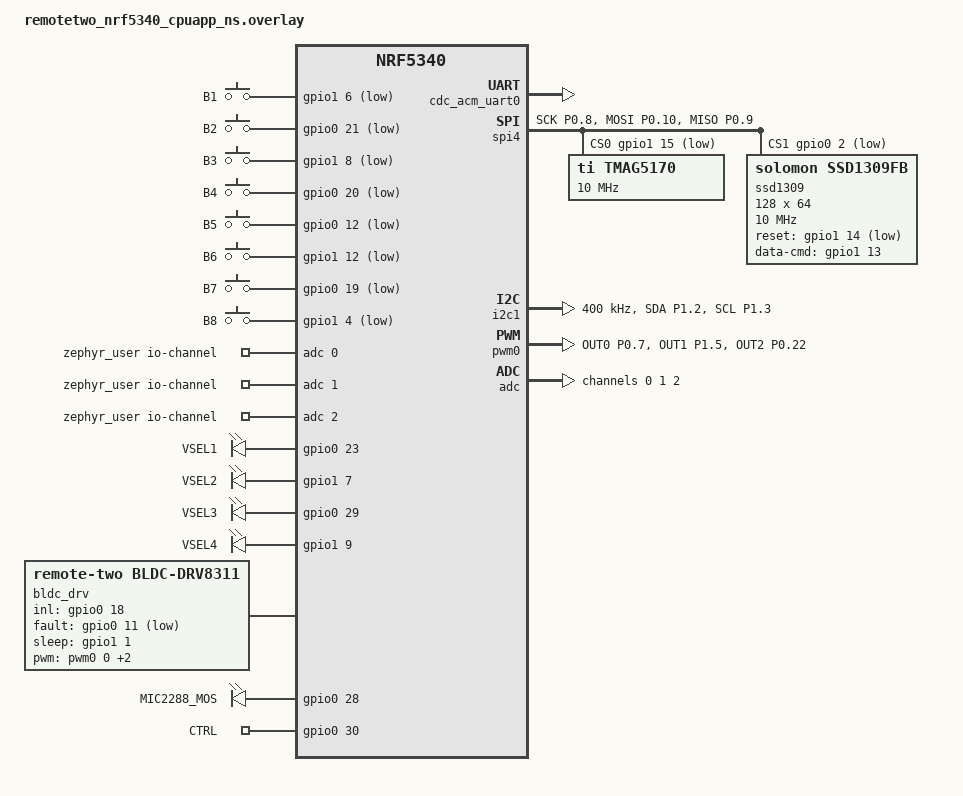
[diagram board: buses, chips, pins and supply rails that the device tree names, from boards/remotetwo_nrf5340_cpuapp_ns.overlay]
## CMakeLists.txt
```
cmake_minimum_required(VERSION 3.20.0)
find_package(Zephyr REQUIRED HINTS $ENV{ZEPHYR_BASE})

project(remote_two)

if(CONFIG_APP_DISP_TEST)
    target_sources(app PRIVATE
        src/disp_test.c
        src/haptic.c
        src/drivers/bldc_driver_3pwm.c
        src/drivers/bldc_motor.c
        src/drivers/current_sense.c
        src/drivers/tmag5170_sensor.c
    )
elseif(CONFIG_APP_DRV_TEST)
    target_sources(app PRIVATE
        src/DRV_test.c
        src/drivers/bldc_driver_3pwm.c
    )
elseif(CONFIG_APP_ANTICOGGING_TEST)
    target_sources(app PRIVATE
        src/drivers/tmag5170_sensor.c
        src/drivers/bldc_driver_3pwm.c
        src/drivers/bldc_motor.c
        src/drivers/current_sense.c
        src/drivers/anticogging.c
    )
elseif(CONFIG_APP_FOC_CURRENT_NOISE_REDUCTION_TEST)
    target_sources(app PRIVATE
        src/drivers/tmag5170_sensor.c
        src/drivers/bldc_driver_3pwm.c
        src/drivers/bldc_motor.c
        src/drivers/current_sense.c
        src/foc_current.c
        src/drivers/anticogging.c
        src/drivers/anticogging_data.c
    )
else()
    target_sources(app PRIVATE
        src/main.c
        src/ui_display.c
        src/haptic.c
        src/remote_control.c
        src/BLE_commands.c
        src/drivers/tmag5170_sensor.c
        src/drivers/bldc_driver_3pwm.c
        src/drivers/bldc_motor.c
        src/drivers/current_sense.c
    )
endif()

target_include_directories(app PRIVATE src)
```

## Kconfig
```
mainmenu "Remote Two firmware"

menu "Application selection"

config APP_DRV_TEST
	bool "DRV8311H open-loop 3PWM motor driver test"
	default n
	help
	  Builds DRV_test.c + bldc_driver_3pwm only.

config APP_DISP_TEST
	bool "SSD1309 display communication test"
	default n
	help
	  Builds disp_test.c only - cycles text on the display to verify SPI.

config APP_FOC_CURRENT_NOISE_REDUCTION_TEST
    bool "Enable FOC Current Noise Reduction Test"
    default n
	help
	  Builds foc_current.c only - runs a test to reduce current noise in FOC control and later implements anticogging.

endmenu

source "Kconfig.zephyr"
```

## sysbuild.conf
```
# Build and flash nRF5340 network core with Bluetooth HCI IPC firmware.
SB_CONFIG_NETCORE_HCI_IPC=y
```

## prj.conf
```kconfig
# ==============================================================================
# TEST CODE SELECTOR - uncomment one of the lines below:
# ==============================================================================
#CONFIG_APP_DISP_TEST=y
#CONFIG_APP_DRV_TEST=y
#CONFIG_APP_ANTICOGGING_TEST=y
CONFIG_APP_FOC_CURRENT_NOISE_REDUCTION_TEST=y

# ==============================================================================
# 1. APPLICATION & SYSTEM
# ==============================================================================

# System tick rate must be >= FOC loop frequency (10 kHz)
CONFIG_SYS_CLOCK_TICKS_PER_SEC=10000

# FPU Support - Hardware Floating Point Unit
CONFIG_FPU=y
CONFIG_FP_HARDABI=y

# CMSIS DSP for ARM math library (Required for FOC)
CONFIG_CMSIS_DSP=y
CONFIG_CMSIS_DSP_FASTMATH=y

# ==============================================================================
# 2. HARDWARE & PERIPHERALS
# ==============================================================================
# Basic drivers
CONFIG_GPIO=y
CONFIG_SPI=y
CONFIG_PWM=y

# SAADC current sensing (DRV8311H CSA outputs) for FOC current torque control.
# Hardware-timed low-side sensing: TIMER2 is phase-locked to PWM0 and its
# COMPARE event triggers the SAADC SAMPLE task through DPPI (nrfx_gppi), with
# EasyDMA writing the conversions to RAM. The Zephyr ADC driver must NOT own
# the SAADC, so CONFIG_ADC stays off. See src/drivers/current_sense.c.
CONFIG_ADC=n
CONFIG_NRFX_SAADC=y
CONFIG_NRFX_GPPI=y
# TIMER2 is driven directly via the nrf_timer HAL (header-only) on NRF_TIMER2,
# not through the nrfx_timer driver, so no NRFX_TIMER Kconfig is required.
# timer2 is status="disabled" in devicetree, so no Zephyr driver owns it.
# nrfx_pwm0: bldc_driver_3pwm.c reinitialises NRF_PWM0 via nrfx_pwm in
# UP_AND_DOWN mode for center-aligned PWM. CONFIG_PWM=y (above) already pulls
# in the nrfx_pwm headers via the Zephyr nrfx PWM driver; no separate Kconfig
# symbol is needed.

# Display (custom framebuffer, no LVGL)
CONFIG_DISPLAY=y
CONFIG_SSD1306=y

# TMAG5170 angle sensor
CONFIG_SENSOR=y
CONFIG_TMAG5170=y

# Input subsystem (Menu button with debounce)
CONFIG_INPUT=y

# Power management: System OFF (deepest sleep) for the power button.
# NOTE: CONFIG_PM_DEVICE intentionally NOT enabled - it perturbs early device
# init on this target. TMAG5170 deep-sleep is done via a direct register write.
CONFIG_POWEROFF=y

# GPIOTE event handlers - 8 buttons + SPI CS GPIO interrupts + reserve
CONFIG_NRFX_GPIOTE_NUM_OF_EVT_HANDLERS=12

# ==============================================================================
# 3. BLUETOOTH LE + NUS
# ==============================================================================
CONFIG_BT=y
CONFIG_BT_PERIPHERAL=y
CONFIG_BT_DEVICE_NAME="remote_two"
CONFIG_BT_DEVICE_APPEARANCE=0
CONFIG_BT_MAX_CONN=1
CONFIG_BT_ZEPHYR_NUS=y

# Suppress verbose BT stack logs (keep only warnings+)
CONFIG_BT_HCI_CORE_LOG_LEVEL_WRN=y

# ==============================================================================
# 4. USB DEVICE STACK & DFU OTA (Application side)
# ==============================================================================

# Required dependencies for Flash writes and OTA updates
CONFIG_FLASH=y
CONFIG_IMG_MANAGER=y
CONFIG_STREAM_FLASH=y
CONFIG_FLASH_MAP=y

# Persistent storage for the anticogging LUT (raw NVS in the settings_storage partition)
CONFIG_NVS=y
CONFIG_FLASH_PAGE_LAYOUT=y
CONFIG_MPU_ALLOW_FLASH_WRITE=y

# Disable QSPI NOR flash - nRF5340DK board defconfig enables it by default.
# QSPI uses P0.13-P0.18; P0.18 = INL (motor low-side enable) -> conflict.
# Our DFU secondary slot is in INTERNAL flash (pm_static.yml), no QSPI needed.
CONFIG_NORDIC_QSPI_NOR=n

# Enable USB Device Stack
CONFIG_USB_DEVICE_STACK=y
CONFIG_USB_DEVICE_INITIALIZE_AT_BOOT=y
CONFIG_USB_DEVICE_PRODUCT="Remote Two"
CONFIG_USB_DEVICE_VID=0x2FE3
CONFIG_USB_DEVICE_PID=0x0100

# SMP (Simple Management Protocol) for Over-The-Air/USB firmware updates
CONFIG_ZCBOR=y
CONFIG_MCUMGR=y
CONFIG_BASE64=y
CONFIG_MCUMGR_TRANSPORT_UART=y
CONFIG_MCUMGR_GRP_IMG=y
CONFIG_MCUMGR_GRP_OS=y

# ==============================================================================
# 5. LOGGING & CONSOLE (Over USB CDC ACM)
# ==============================================================================
# Enable serial console
CONFIG_SERIAL=y
CONFIG_CONSOLE=y
CONFIG_UART_CONSOLE=y
CONFIG_UART_LINE_CTRL=y

# Disable Segger RTT to prevent conflicts with USB logging
CONFIG_RTT_CONSOLE=n
CONFIG_USE_SEGGER_RTT=n

# Logging Subsystem
CONFIG_LOG=y
CONFIG_LOG_DEFAULT_LEVEL=2
CONFIG_LOG_OVERRIDE_LEVEL=0
# Deferred logging: log lines are queued and flushed from a low-priority thread,
# so a stalled/slow USB-CDC terminal can NEVER block the timing-sensitive haptic
# FOC init (immediate mode busy-waits on uart_poll_out and stalled the whole
# boot for ~20 s when the terminal was not draining fast enough).
CONFIG_LOG_MODE_DEFERRED=y

# Printk support (float formatting)
CONFIG_PRINTK=y
CONFIG_CBPRINTF_FP_SUPPORT=y
# Do NOT route printk() through the deferred log queue.
# With LOG_PRINTK=y, printk("DATA:...") shares the log buffer with BLE/haptic
# LOG_INF messages; the buffer fills faster than it flushes, causing DATA lines
# to be delayed or silently dropped ("--- N messages dropped ---").
# With LOG_PRINTK=n, printk() writes directly to the UART console device
# (fast ring-buffer path) so SerialPlot sees DATA lines immediately.
CONFIG_LOG_PRINTK=n
```

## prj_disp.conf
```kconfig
# SSD1309 + TMAG5170 clean app build.
# Minimal: only SPI + display + TMAG, no BT/PWM/CMSIS.

#CONFIG_APP_DISP_TEST=y

# Peripherals
CONFIG_GPIO=y
CONFIG_SPI=y

# Display (SSD1306 driver handles both SSD1306 and SSD1309)
CONFIG_DISPLAY=y
CONFIG_SSD1306=y

# FPU (needed by Zephyr arm init even in minimal builds)
CONFIG_FPU=y
CONFIG_FP_HARDABI=y

# RTT console
CONFIG_SERIAL=n
CONFIG_CONSOLE=y
CONFIG_RTT_CONSOLE=y
CONFIG_USE_SEGGER_RTT=y
CONFIG_SEGGER_RTT_BUFFER_SIZE_UP=4096
CONFIG_PRINTK=y
CONFIG_CBPRINTF_FP_SUPPORT=y
CONFIG_LOG=y
CONFIG_LOG_DEFAULT_LEVEL=3
CONFIG_LOG_MODE_IMMEDIATE=y

# Disable everything unused
CONFIG_INPUT=n
CONFIG_BT=n
CONFIG_PWM=y
CONFIG_SENSOR=y
CONFIG_TMAG5170=y
CONFIG_CMSIS_DSP=y
```

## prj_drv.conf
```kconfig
# DRV8311H 3PWM open-loop driver verification build.
# Stand-alone test: no BLE, no display, no encoder, no current sensing.

# App selector (picks DRV_test.c in CMakeLists.txt)
CONFIG_APP_DRV_TEST=y

# Required peripherals
CONFIG_GPIO=y
CONFIG_PWM=y

# Hardware FPU — sinf/cosf in set_phase_voltage
CONFIG_FPU=y
CONFIG_FP_HARDABI=y
CONFIG_CBPRINTF_FP_SUPPORT=y

# RTT console
CONFIG_SERIAL=n
CONFIG_CONSOLE=y
CONFIG_RTT_CONSOLE=y
CONFIG_USE_SEGGER_RTT=y
CONFIG_PRINTK=y
CONFIG_LOG=y
CONFIG_LOG_DEFAULT_LEVEL=3
CONFIG_LOG_MODE_IMMEDIATE=y
CONFIG_SEGGER_RTT_BUFFER_SIZE_UP=4096

# Disable unused subsystems
CONFIG_INPUT=n
CONFIG_BT=n
CONFIG_DISPLAY=n
CONFIG_SSD1306=n
CONFIG_SPI=n
CONFIG_SENSOR=n
CONFIG_CMSIS_DSP=n
```

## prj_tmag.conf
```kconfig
# Minimal TMAG5170 debug build

# Core peripherals
CONFIG_GPIO=y
CONFIG_SPI=y
CONFIG_SENSOR=y
CONFIG_TMAG5170=y
CONFIG_TMAG5170_CRC=n

# Logging over RTT
CONFIG_SERIAL=n
CONFIG_CONSOLE=y
CONFIG_RTT_CONSOLE=y
CONFIG_USE_SEGGER_RTT=y
CONFIG_PRINTK=y
CONFIG_LOG=y
CONFIG_LOG_DEFAULT_LEVEL=3
CONFIG_LOG_MODE_IMMEDIATE=y
CONFIG_SEGGER_RTT_BUFFER_SIZE_UP=4096

# Keep the build as small as possible for sensor debugging
CONFIG_INPUT=n
CONFIG_BT=n
CONFIG_DISPLAY=n
CONFIG_SSD1306=n
CONFIG_PWM=n
```

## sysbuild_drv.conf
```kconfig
# No BLE firmware on network core needed for the driver test.
SB_CONFIG_NETCORE_HCI_IPC=n
```

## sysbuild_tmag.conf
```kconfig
# Sysbuild config for isolated TMAG debugging on CPUAPP only.
# Disable netcore HCI IPC image to avoid building unrelated child image.
SB_CONFIG_NETCORE_HCI_IPC=n
```

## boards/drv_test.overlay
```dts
/*
 * Minimal device-tree overlay for DRV8311H 3PWM open-loop driver test.
 *
 * Pin assignment (nRF5340DK GPIO headers):
 *
 *   INA    → P0.07  (PWM0 OUT0) — high-side phase A gate signal
 *   INB    → P1.05  (PWM0 OUT1) — high-side phase B gate signal
 *   INC    → P0.22  (PWM0 OUT2) — high-side phase C gate signal
 *   INL    → P0.18  (GPIO out)  — shared low-side enable
 *   nSLEEP → P1.01  (GPIO out)  — sleep control, HIGH = awake
 *   nFAULT → P0.11  (GPIO in)   — active-low fault indicator
 *
 * INL logic level (DRV8311H datasheet, Table 1 – 3PWM mode):
 *   INL = HIGH → low-side gates enabled, complementary PWM (normal operation)
 *   INL = LOW  → all low-side gates forced off, motor coasts (Hi-Z)
 * The driver asserts INL HIGH inside bldc_driver_3pwm_init_hw().
 *
 * Slew rate: set to 75 V/µs by hardware (IDRIVEN/IDRIVEP resistors).
 * No firmware configuration required.
 */

&pinctrl {
	pwm0_default: pwm0_default {
		group1 {
			psels = <NRF_PSEL(PWM_OUT0, 0,  7)>,  /* INA – P0.07 */
				<NRF_PSEL(PWM_OUT1, 1,  5)>,  /* INB – P1.05 */
				<NRF_PSEL(PWM_OUT2, 0, 22)>;  /* INC – P0.22 */
		};
	};
	pwm0_sleep: pwm0_sleep {
		group1 {
			psels = <NRF_PSEL(PWM_OUT0, 0,  7)>,
				<NRF_PSEL(PWM_OUT1, 1,  5)>,
				<NRF_PSEL(PWM_OUT2, 0, 22)>;
			low-power-enable;
		};
	};
};

&pwm0 {
	status = "okay";
	pinctrl-0 = <&pwm0_default>;
	pinctrl-1 = <&pwm0_sleep>;
	pinctrl-names = "default", "sleep";
};

/ {
	bldc_drv: bldc_drv {
		compatible = "remote-two,bldc-drv8311";

		/* PWM order: INA (idx 0), INB (idx 1), INC (idx 2) */
		pwms = <&pwm0 0 PWM_KHZ(25) PWM_POLARITY_NORMAL>,
		       <&pwm0 1 PWM_KHZ(25) PWM_POLARITY_NORMAL>,
		       <&pwm0 2 PWM_KHZ(25) PWM_POLARITY_NORMAL>;

		/* INL = HIGH for normal operation (see INL note above) */
		inl-gpios   = <&gpio0 18 GPIO_ACTIVE_HIGH>;

		/* nSLEEP: HIGH = device awake */
		sleep-gpios = <&gpio1  1 GPIO_ACTIVE_HIGH>;

		/* nFAULT: active-low, falling edge = fault asserted */
		fault-gpios = <&gpio0 11 GPIO_ACTIVE_LOW>;
	};
};
```

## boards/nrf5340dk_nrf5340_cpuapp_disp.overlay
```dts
/*
 * Display + DRV8311H combined test pin override.
 * Applied on top of remotetwo_nrf5340_cpuapp_ns.overlay for the build_disp build.
 *
 * SPI3 MOSI rerouted to former MISO testpoint on P0.10.
 * SCK stays at P1.05.
 *
 * PWM0 channels routed to the actual INA/INB/INC pins (3PWM mode):
 *   OUT0 (INA) -> P0.07
 *   OUT1 (INB) -> P1.05
 *   OUT2 (INC) -> P0.22
 * Source: nrf5340dk_nrf5340_cpuapp_drv.overlay
 */

&pinctrl {
        spi3_default: spi3_default {
                group1 {
                        psels = <NRF_PSEL(SPIM_SCK,  1, 5)>,
                                <NRF_PSEL(SPIM_MOSI, 0, 10)>;
                };
        };
        spi3_sleep: spi3_sleep {
                group1 {
                        psels = <NRF_PSEL(SPIM_SCK,  1, 5)>,
                                <NRF_PSEL(SPIM_MOSI, 0, 10)>;
                        low-power-enable;
                };
        };
        pwm0_default: pwm0_default {
                group1 {
                        psels = <NRF_PSEL(PWM_OUT0, 0, 7)>,   /* INA -> P0.07 */
                                <NRF_PSEL(PWM_OUT1, 1, 5)>,    /* INB -> P1.05 */
                                <NRF_PSEL(PWM_OUT2, 0, 22)>;   /* INC -> P0.22 */
                };
        };
        pwm0_sleep: pwm0_sleep {
                group1 {
                        psels = <NRF_PSEL(PWM_OUT0, 0, 7)>,
                                <NRF_PSEL(PWM_OUT1, 1, 5)>,
                                <NRF_PSEL(PWM_OUT2, 0, 22)>;
		};
	};
};

/ {
	buttons {
		compatible = "gpio-keys";
		btn_east: btn_east {
			gpios = <&gpio1 4 (GPIO_PULL_UP | GPIO_ACTIVE_LOW)>;
			label = "East button";
		};
	};
};
```

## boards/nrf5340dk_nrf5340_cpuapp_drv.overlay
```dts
/*
 * DRV8311H 3PWM pin override.
 * Applied on top of nrf5340dk_nrf5340_cpuapp_ns.overlay for the build_drv build.
 *
 * PWM0 channels routed to the actual INA/INB/INC pins on the PCB:
 *   OUT0 (INA) -> P0.07
 *   OUT1 (INB) -> P1.05
 *   OUT2 (INC) -> P0.22
 *
 * The base overlay maps PWM0 to P1.14/P1.12/P1.10 (6PWM high-side).
 * This overlay replaces that mapping for the 3PWM DRV8311H build.
 */

&pinctrl {
	pwm0_default: pwm0_default {
		group1 {
			psels = <NRF_PSEL(PWM_OUT0, 0, 7)>,   /* INA -> P0.07 */
				<NRF_PSEL(PWM_OUT1, 1, 5)>,    /* INB -> P1.05 */
				<NRF_PSEL(PWM_OUT2, 0, 22)>;   /* INC -> P0.22 */
		};
	};
	pwm0_sleep: pwm0_sleep {
		group1 {
			psels = <NRF_PSEL(PWM_OUT0, 0, 7)>,
				<NRF_PSEL(PWM_OUT1, 1, 5)>,
				<NRF_PSEL(PWM_OUT2, 0, 22)>;
			low-power-enable;
		};
	};
};
```

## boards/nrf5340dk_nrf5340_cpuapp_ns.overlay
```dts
/*
 * Device Tree overlay for nRF5340 DK - remote_two
 *
 * AS5048A encoder (SPI3):
 *   SCK  -> P1.05
 *   MOSI -> P1.06
 *   MISO -> P1.02
 *   CS   -> P1.03
 *
 * SSD1309 OLED (shared SPI3 bus):
 *   CS   -> P1.09
 *   DC   -> P1.08
 *   RST  -> P1.07
 *
 * 6PWM motor driver:
 *   Phase A high -> P1.14
 *   Phase B high -> P1.12
 *   Phase C high -> P1.10
 *   Phase A low  -> P1.15
 *   Phase B low  -> P1.13
 *   Phase C low  -> P1.11
 */

&pinctrl {
	/* SPI3 - AS5048A encoder + SSD1309 display */
	spi3_default: spi3_default {
		group1 {
			psels = <NRF_PSEL(SPIM_SCK,  1, 5)>,
				<NRF_PSEL(SPIM_MOSI, 1, 6)>,
				<NRF_PSEL(SPIM_MISO, 1, 2)>;
		};
	};
	spi3_sleep: spi3_sleep {
		group1 {
			psels = <NRF_PSEL(SPIM_SCK,  1, 5)>,
				<NRF_PSEL(SPIM_MOSI, 1, 6)>,
				<NRF_PSEL(SPIM_MISO, 1, 2)>;
			low-power-enable;
		};
	};

	/* PWM0 - high-side gate signals (AH=OUT0, BH=OUT1, CH=OUT2) */
	pwm0_default: pwm0_default {
		group1 {
			psels = <NRF_PSEL(PWM_OUT0, 1, 14)>,
				<NRF_PSEL(PWM_OUT1, 1, 12)>,
				<NRF_PSEL(PWM_OUT2, 1, 10)>;
		};
	};
	pwm0_sleep: pwm0_sleep {
		group1 {
			psels = <NRF_PSEL(PWM_OUT0, 1, 14)>,
				<NRF_PSEL(PWM_OUT1, 1, 12)>,
				<NRF_PSEL(PWM_OUT2, 1, 10)>;
			low-power-enable;
		};
	};

	/* PWM1 - low-side gate signals (AL=OUT0, BL=OUT1, CL=OUT2) */
	pwm1_default: pwm1_default {
		group1 {
			psels = <NRF_PSEL(PWM_OUT0, 1, 15)>,
				<NRF_PSEL(PWM_OUT1, 1, 13)>,
				<NRF_PSEL(PWM_OUT2, 1, 11)>;
		};
	};
	pwm1_sleep: pwm1_sleep {
		group1 {
			psels = <NRF_PSEL(PWM_OUT0, 1, 15)>,
				<NRF_PSEL(PWM_OUT1, 1, 13)>,
				<NRF_PSEL(PWM_OUT2, 1, 11)>;
			low-power-enable;
		};
	};
};

/* SPI3 - AS5048A encoder (reg=0) + SSD1309 display (reg=1) */
&spi3 {
	compatible = "nordic,nrf-spim";
	status = "okay";
	pinctrl-0 = <&spi3_default>;
	pinctrl-1 = <&spi3_sleep>;
	pinctrl-names = "default", "sleep";
	cs-gpios = <&gpio1 3 GPIO_ACTIVE_LOW>,
		   <&gpio1 9 GPIO_ACTIVE_LOW>;

	as5048a: as5048a@0 {
		compatible = "ams,as5048a";
		reg = <0>;
		spi-max-frequency = <8000000>;
	};

	ssd1309: ssd1309@1 {
		compatible = "solomon,ssd1309fb";
		reg = <1>;
		spi-max-frequency = <8000000>;
		width = <128>;
		height = <64>;
		segment-offset = <0>;
		page-offset = <0>;
		display-offset = <0>;
		multiplex-ratio = <63>;
		segment-remap;
		com-invdir;
		prechargep = <0x22>;  /* Phase1=2, Phase2=2 – ext. VCC, no charge pump */
		reset-gpios = <&gpio1 7 GPIO_ACTIVE_LOW>;
		data-cmd-gpios = <&gpio1 8 GPIO_ACTIVE_HIGH>;
	};
};

/* PWM0 - high-side phase signals */
pwm_high: &pwm0 {
	status = "okay";
	pinctrl-0 = <&pwm0_default>;
	pinctrl-1 = <&pwm0_sleep>;
	pinctrl-names = "default", "sleep";
};

/* PWM1 - low-side phase signals */
pwm_low: &pwm1 {
	status = "okay";
	pinctrl-0 = <&pwm1_default>;
	pinctrl-1 = <&pwm1_sleep>;
	pinctrl-names = "default", "sleep";
};

/ {
	chosen {
		zephyr,display = &ssd1309;
	};

	/*
	 * 6PWM BLDC driver — channel order: AH, AL, BH, BL, CH, CL.
	 * To remap phases to different pins change only the pinctrl entries above;
	 * to swap which channel drives which phase edit the pwms list here.
	 * No C code needs to be touched.
	 */
	bldc_6pwm: bldc_6pwm {
		compatible = "remote-two,bldc-6pwm";
		pwms = <&pwm0 0 PWM_KHZ(25) PWM_POLARITY_NORMAL>,   /* Phase A high */
		       <&pwm1 0 PWM_KHZ(25) PWM_POLARITY_NORMAL>,   /* Phase A low  */
		       <&pwm0 1 PWM_KHZ(25) PWM_POLARITY_NORMAL>,   /* Phase B high */
		       <&pwm1 1 PWM_KHZ(25) PWM_POLARITY_NORMAL>,   /* Phase B low  */
		       <&pwm0 2 PWM_KHZ(25) PWM_POLARITY_NORMAL>,   /* Phase C high */
		       <&pwm1 2 PWM_KHZ(25) PWM_POLARITY_NORMAL>;   /* Phase C low  */
	};

	aliases {
		sw1 = &button1;
	};

	buttons {
		compatible = "gpio-keys";
		button1: button_1 {
			gpios = <&gpio0 24 (GPIO_PULL_UP | GPIO_ACTIVE_LOW)>;
			label = "Menu button";
			zephyr,code = <INPUT_KEY_ENTER>;
		};
	};
};
```

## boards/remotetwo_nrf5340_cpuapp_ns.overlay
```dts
/*
 * Device Tree overlay - RemoteTwo hardware (nRF5340 / MDBT53)
 * Derived from nRF5340_altium_schema.pdf / remotetwo_pins.txt
 *
 * LFXO  - 32.768 kHz crystal ABS07-32.768KHZ-9-T
 *   internal load capacitors set to 9 pF (= 9000 fF)
 *
 * SPIM4 (HSPI) - TMAG5170 magnetic angle sensor  (CS: P1.15)
 *              + SSD1309 OLED display            (CS: P0.02)
 *   SCK  -> P0.08   MOSI -> P0.10   MISO -> P0.09
 *
 * I2C1  - on-board I2C bus (accelerometer, etc.)
 *   SDA  -> P1.02   SCL  -> P1.03
 *
 * PWM0  - DRV8311 motor inputs INA / INB / INC
 *   INA -> P0.07   INB -> P1.05   INC -> P0.22
 *
 * PWM1  - DRV8311 common low-side INL
 *   INL -> P0.18
 *
 * SAADC - DRV8311H current-sense amplifier outputs (FOC current control)
 *   SOA -> P0.27 (AIN6)   SOB -> P0.26 (AIN5)   SOC -> P0.25 (AIN4)
 */

#include <zephyr/dt-bindings/adc/adc.h>
#include <zephyr/dt-bindings/adc/nrf-saadc.h>

 /* Define main console - USB */
/ {
    chosen {
        zephyr,console = &cdc_acm_uart0;
        zephyr,shell = &cdc_acm_uart0;
		zephyr,uart-mcumgr = &cdc_acm_uart0;
    };
};

&zephyr_udc0 {
    cdc_acm_uart0: cdc_acm_uart0 {
        compatible = "zephyr,cdc-acm-uart";
        label = "CDC_ACM_0";
    };
};

/* Disable hardware UART0 because its registers are needed by our SPI bus setup. */
&uart0 {
    status = "disabled";
};

/*
 * nrf5340dk_nrf5340_cpuapp_ns.overlay is auto-loaded by Zephyr for this board.
 * We override several default DK settings:
 *   - pwm1 disabled: frees P1.15 for SPI0 CS TMAG5170 (otherwise TMAG always returns 0)
 *   - qspi disabled: QSPI uses pins P0.13-P0.18; P0.18 = motor INL -> conflict
 *   - delete button_0..3: DK has 4 default buttons and we add 8 more = 12 GPIOTE channels,
 *     but nRF5340 only has 8 -> -ENOMEM; remove all DK buttons
 */
&pwm1 {
    status = "disabled";
};

&qspi {
    status = "disabled";
};

/* SPI bus moved to the dedicated high-speed SPIM4 (HSPI). Make sure the old
 * SERIAL0 SPIM is off so it cannot claim the shared pins or instance. */
&spi0 {
    status = "disabled";
};

/*
 * Stop the application core from forwarding the net-core console-UART pins.
 *
 * The DK common devicetree forwards P1.01/P1.00/P0.11/P0.10 (net-core uart0
 * TX/RX/RTS/CTS) to the network core via nrf-gpio-forwarder. On the RemoteTwo
 * board P0.10 is the SPI MOSI shared by the TMAG5170 and SSD1309. Once
 * bt_enable() boots the net core, the forwarded P0.10 is handed to the net-core
 * uart0 (CTS), stealing MOSI from the app-core SPIM: every SPI write still
 * "succeeds" but no data reaches the devices, so the TMAG reads 0 mT and the
 * OLED shows checkerboard. hci_ipc needs no serial console, so remove the
 * forward entirely. A GPIO is only accessible to the net core if the app core
 * forwards it, so deleting this node keeps P0.10 (and the others) owned by the
 * app core. This is an app-core-only change, deployable over the existing DFU.
 */
&gpio_fwd {
    /delete-node/ uart;
};

/ {
    buttons {
        /delete-node/ button_0;
        /delete-node/ button_1;
        /delete-node/ button_2;
        /delete-node/ button_3;
    };
};

&pinctrl {
	/* ---- SPIM4 (HSPI): TMAG5170 + SSD1309 OLED ----
	 * Uses the dedicated high-speed SPIM4 instance (spi@a000, up to 32 MHz)
	 * instead of SERIAL3 (spi3). Same physical pins. The board-default
	 * spi4_default pinctrl (P1.15/P1.14/P1.13, Arduino header) is overridden by
	 * these states, so those pins stay free for CS_TMAG / OLED_RST / OLED_DC. */
	spi4hs_default: spi4hs_default {
		group1 {
			psels = <NRF_PSEL(SPIM_SCK,  0, 8)>,
				<NRF_PSEL(SPIM_MOSI, 0, 10)>;
		};
		group2 {
			psels = <NRF_PSEL(SPIM_MISO, 0, 9)>;
			bias-pull-up;
		};
	};
	spi4hs_sleep: spi4hs_sleep {
		group1 {
			psels = <NRF_PSEL(SPIM_SCK,  0, 8)>,
				<NRF_PSEL(SPIM_MOSI, 0, 10)>,
				<NRF_PSEL(SPIM_MISO, 0, 9)>;
			low-power-enable;
		};
	};

	/* ---- I2C1 ---- */
	i2c1_default: i2c1_default {
		group1 {
			psels = <NRF_PSEL(TWIM_SDA, 1, 2)>,
				<NRF_PSEL(TWIM_SCL, 1, 3)>;
		};
	};
	i2c1_sleep: i2c1_sleep {
		group1 {
			psels = <NRF_PSEL(TWIM_SDA, 1, 2)>,
				<NRF_PSEL(TWIM_SCL, 1, 3)>;
			low-power-enable;
		};
	};

	/* ---- PWM0: INA / INB / INC ---- */
	pwm0_default: pwm0_default {
		group1 {
			psels = <NRF_PSEL(PWM_OUT0, 0, 7)>,   /* INA – P0.07 */
				<NRF_PSEL(PWM_OUT1, 1, 5)>,    /* INB – P1.05 */
				<NRF_PSEL(PWM_OUT2, 0, 22)>;   /* INC – P0.22 */
		};
	};
	pwm0_sleep: pwm0_sleep {
		group1 {
			psels = <NRF_PSEL(PWM_OUT0, 0, 7)>,
				<NRF_PSEL(PWM_OUT1, 1, 5)>,
				<NRF_PSEL(PWM_OUT2, 0, 22)>;
			low-power-enable;
		};
	};

};

/* ================================================================
 * LFXO – 32.768 kHz crystal ABS07-32.768KHZ-9-T
 * Internal load capacitors 9 pF match crystal's CL specification.
 * ================================================================ */
&lfxo {
	load-capacitors = "internal";
	load-capacitance-picofarad = <9>;
};

/* ================================================================
 * SPIM4 (HSPI) – TMAG5170 (reg=0) + SSD1309 OLED (reg=1)
 * Dedicated high-speed SPIM4 instance (spi@a000). Replaces SERIAL3 (spi3),
 * which is disabled just above. Same physical pins (SCK P0.08, MOSI P0.10,
 * MISO P0.09). Devices stay at 8 MHz, so no high-drive pin config is needed.
 * ================================================================ */
&spi3 {
	status = "disabled";
};

&spi4 {
	compatible = "nordic,nrf-spim";
	status = "okay";
	pinctrl-0 = <&spi4hs_default>;
	pinctrl-1 = <&spi4hs_sleep>;
	pinctrl-names = "default", "sleep";
	cs-gpios = <&gpio1 15 GPIO_ACTIVE_LOW>,   /* CS_TMAG  – P1.15 */
		   <&gpio0  2 GPIO_ACTIVE_LOW>;    /* CSn_OLED – P0.02 */

	tmag5170: tmag5170@0 {
		compatible = "ti,tmag5170";
		reg = <0>;
		spi-max-frequency = <10000000>;
		operating-mode = <2>;
		magnetic-channels = "XY";
		angle-measurement = "XY";
		/* Hardware CONV_AVG averaging. The Zephyr driver uses DT_INST_ENUM_IDX
		 * over the enum {1,2,4,8,16,32}, so this is the literal averaging
		 * factor: <1> selected CONV_AVG=0 = NO averaging (chip reset default),
		 * which is why the boot diagnostic showed ~0.25 deg p-p on a still
		 * rotor. That is 18% of one cogging period (24N/22P => 264 cogging
		 * cycles/rev => 1.36 deg period), which smears the anticogging map.
		 * 8x gives ~2.8x less noise while keeping the conversion at ~200 us,
		 * so it still supports the 5 kHz FOC loop with no added lag.
		 * Do NOT use 32x here: ~800 us per conversion would put the angle
		 * behind the commutation. */
		oversampling = <8>;
		/* Measured in-plane field |Bxy| ≈ 50 mT (magnet at working distance).
		 * At ±25 mT (range 1) both axes railed at ~25 (fake 315° angle); at
		 * ±50 mT (range 0) the dominant axis still pegs at ~49.9 mT => still
		 * clipping. Use 2 = ±100 mT (A1) / ±300 mT (A2) so the ~50 mT peak has
		 * headroom and the angle stays linear over the full rotation. */
		x-range = <2>;
		y-range = <2>;
	};

	ssd1309: ssd1309@1 {
		compatible = "solomon,ssd1309fb";
		reg = <1>;
		spi-max-frequency = <10000000>;
		width = <128>;
		height = <64>;
		segment-offset = <0>;
		page-offset = <0>;
		display-offset = <0>;
		multiplex-ratio = <63>;
		segment-remap;
		com-invdir;
		prechargep = <0x22>;  /* Phase1=2, Phase2=2 – ext. VCC, no charge pump */
		reset-gpios    = <&gpio1 14 GPIO_ACTIVE_LOW>;    /* OLED_RST – P1.14 */
		data-cmd-gpios = <&gpio1 13 GPIO_ACTIVE_HIGH>;   /* D/C      – P1.13 */
		ready-time-ms = <200>;
	};
};

/* ================================================================
 * I2C1 – on-board I2C bus (accelerometer, …)
 * ================================================================ */
&i2c1 {
	compatible = "nordic,nrf-twim";
	status = "okay";
	pinctrl-0 = <&i2c1_default>;
	pinctrl-1 = <&i2c1_sleep>;
	pinctrl-names = "default", "sleep";
	clock-frequency = <I2C_BITRATE_FAST>;
};

/* ================================================================
 * PWM0 – DRV8311 high-side inputs INA / INB / INC
 * ================================================================ */
&pwm0 {
	status = "okay";
	pinctrl-0 = <&pwm0_default>;
	pinctrl-1 = <&pwm0_sleep>;
	pinctrl-names = "default", "sleep";
};

/* ================================================================
 * SAADC – DRV8311H current-sense amplifier outputs (FOC current control)
 *   SOA = P0.27 = AIN6 (channel 0)
 *   SOB = P0.26 = AIN5 (channel 1)
 *   SOC = P0.25 = AIN4 (channel 2)
 * CSA gain = 2 V/A, bidirectional, output biased near AVDD/2.
 * Internal 0.6 V reference + gain 1/6 => full-scale 3.6 V single-ended,
 * which spans the 0..3.3 V CSA output with headroom. 12-bit resolution.
 * ================================================================ */
&adc {
	status = "okay";
	#address-cells = <1>;
	#size-cells = <0>;

	channel@0 {
		reg = <0>;
		zephyr,gain = "ADC_GAIN_1_6";
		zephyr,reference = "ADC_REF_INTERNAL";
		zephyr,acquisition-time = <ADC_ACQ_TIME(ADC_ACQ_TIME_MICROSECONDS, 3)>;
		zephyr,input-positive = <NRF_SAADC_AIN6>;   /* SOA – P0.27 */
		zephyr,resolution = <12>;
	};
	channel@1 {
		reg = <1>;
		zephyr,gain = "ADC_GAIN_1_6";
		zephyr,reference = "ADC_REF_INTERNAL";
		zephyr,acquisition-time = <ADC_ACQ_TIME(ADC_ACQ_TIME_MICROSECONDS, 3)>;
		zephyr,input-positive = <NRF_SAADC_AIN5>;   /* SOB – P0.26 */
		zephyr,resolution = <12>;
	};
	channel@2 {
		reg = <2>;
		zephyr,gain = "ADC_GAIN_1_6";
		zephyr,reference = "ADC_REF_INTERNAL";
		zephyr,acquisition-time = <ADC_ACQ_TIME(ADC_ACQ_TIME_MICROSECONDS, 3)>;
		zephyr,input-positive = <NRF_SAADC_AIN4>;   /* SOC – P0.25 */
		zephyr,resolution = <12>;
	};
};

/ {
	/* Phandle bundle the current-sense driver grabs the three ADC channels from.
	 * Node MUST be named "zephyr,user" (no compatible) so the devicetree type
	 * inference recognises io-channels as a phandle-array. IDX 0/1/2 = SOA/SOB/SOC. */
	zephyr_user: zephyr,user {
		io-channels = <&adc 0>, <&adc 1>, <&adc 2>;
	};
};

/ {
	chosen {
		zephyr,display = &ssd1309;
	};

	/* ------------------------------------------------------------
	 * Buttons B1–B8  (pull-up, active-low to GND)
	 * ------------------------------------------------------------ */
	buttons {
		compatible = "gpio-keys";

		button_b1: btn_south: button_b1 {
			gpios = <&gpio1  6 (GPIO_PULL_UP | GPIO_ACTIVE_LOW)>;
			label = "B1";
			zephyr,code = <INPUT_KEY_1>;
		};
		button_b2: btn_south_west: button_b2 {
			gpios = <&gpio0 21 (GPIO_PULL_UP | GPIO_ACTIVE_LOW)>;
			label = "B2";
			zephyr,code = <INPUT_KEY_2>;
		};
		button_b3: btn_west: button_b3 {
			gpios = <&gpio1  8 (GPIO_PULL_UP | GPIO_ACTIVE_LOW)>;
			label = "B3";
			zephyr,code = <INPUT_KEY_3>;
		};
		button_b4: btn_north_west: button_b4 {
			gpios = <&gpio0 20 (GPIO_PULL_UP | GPIO_ACTIVE_LOW)>;
			label = "B4";
			zephyr,code = <INPUT_KEY_4>;
		};
		button_b5: btn_north: button_b5 {
			gpios = <&gpio0 12 (GPIO_PULL_UP | GPIO_ACTIVE_LOW)>;
			label = "B5";
			zephyr,code = <INPUT_KEY_5>;
		};
		button_b6: btn_north_east: button_b6 {
			gpios = <&gpio1 12 (GPIO_PULL_UP | GPIO_ACTIVE_LOW)>;
			label = "B6";
			zephyr,code = <INPUT_KEY_6>;
		};
		button_boot: btn_south_east: button_boot {
			gpios = <&gpio0 19 (GPIO_PULL_UP | GPIO_ACTIVE_LOW)>;
			label = "B7";
			zephyr,code = <INPUT_KEY_7>;
		};
		button_b8: btn_east: button_b8 {
			gpios = <&gpio1  4 (GPIO_PULL_UP | GPIO_ACTIVE_LOW)>;
			label = "B8";
			zephyr,code = <INPUT_KEY_8>;
		};
	};

	/* ------------------------------------------------------------
	 * Voltage selectors VSEL1–4  (GPIO outputs, active-high)
	 * ------------------------------------------------------------ */
	vsel_gpios {
		compatible = "gpio-leds";
		vsel1: vsel1 {
			gpios = <&gpio0 23 GPIO_ACTIVE_HIGH>;   /* VSEL1 – P0.23 */
			label = "VSEL1";
		};
		vsel2: vsel2 {
			gpios = <&gpio1  7 GPIO_ACTIVE_HIGH>;   /* VSEL2 – P1.07 */
			label = "VSEL2";
		};
		vsel3: vsel3 {
			gpios = <&gpio0 29 GPIO_ACTIVE_HIGH>;   /* VSEL3 – P0.29 */
			label = "VSEL3";
		};
		vsel4: vsel4 {
			gpios = <&gpio1  9 GPIO_ACTIVE_HIGH>;   /* VSEL4 – P1.09 */
			label = "VSEL4";
		};
	};

	/* ------------------------------------------------------------
	 * DRV8311H motor driver – 3PWM mode
	 *   INA/INB/INC driven by PWM0 channels 0/1/2.
	 *   INL (low-side enable) and nSLEEP driven as plain GPIO outputs.
	 *   nFAULT is a GPIO input with falling-edge interrupt for logging.
	 * ------------------------------------------------------------ */
	bldc_drv: bldc_drv {
		compatible = "remote-two,bldc-drv8311";
		pwms = <&pwm0 0 PWM_KHZ(25) PWM_POLARITY_NORMAL>,  /* INA – P0.07 */
		       <&pwm0 1 PWM_KHZ(25) PWM_POLARITY_NORMAL>,  /* INB – P1.05 */
		       <&pwm0 2 PWM_KHZ(25) PWM_POLARITY_NORMAL>;  /* INC – P0.22 */
		inl-gpios   = <&gpio0 18 GPIO_ACTIVE_HIGH>;         /* INL        – P0.18 */
		fault-gpios = <&gpio0 11 GPIO_ACTIVE_LOW>;          /* DRV_FAULT  – P0.11 */
		sleep-gpios = <&gpio1  1 GPIO_ACTIVE_HIGH>;         /* DRV_SLEEP  – P1.01 */
	};

	/* ------------------------------------------------------------
	 * Power / charging GPIOs
	 * ------------------------------------------------------------ */
	power_gpios {
		compatible = "gpio-leds";
		mic2288_mos: mic2288_mos {
			gpios = <&gpio0 28 GPIO_ACTIVE_HIGH>;   /* MIC2288_MOS – P0.28 */
			label = "MIC2288_MOS";
		};
		pwr_ctrl: pwr_ctrl {
			gpios = <&gpio0 30 GPIO_ACTIVE_HIGH>;   /* CTRL        – P0.30 */
			label = "CTRL";
		};
	};

	charge_gpios {
		compatible = "remote-two,status-gpios";
		charge_stat: charge_stat {
			gpios = <&gpio1 10 GPIO_ACTIVE_LOW>;    /* CHARGE_STAT – P1.10 */
			label = "CHARGE_STAT";
		};
		charge_alrt: charge_alrt {
			gpios = <&gpio0 31 GPIO_ACTIVE_LOW>;    /* ALRT        – P0.31 */
			label = "ALRT";
		};
		charge_irqn: charge_irqn {
			gpios = <&gpio1 11 GPIO_ACTIVE_LOW>;    /* IRQn        – P1.11 */
			label = "IRQn";
		};
		accel_int: accel_int {
			gpios = <&gpio0  5 GPIO_ACTIVE_HIGH>;   /* INT_ACCEL   – P0.05 */
			label = "INT_ACCEL";
		};
	};

	aliases {
		spi-oled  = &ssd1309;
		spi-tmag  = &tmag5170;
		motor-drv = &bldc_drv;
		sw0 = &button_b1;
		sw1 = &button_b2;
		sw2 = &button_b3;
		sw3 = &button_b4;
		sw4 = &button_b5;
		sw5 = &button_b6;
		mcuboot-button0 = &button_boot;
		sw6 = &button_b8;
	};
};
```

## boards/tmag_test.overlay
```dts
/* Minimal overlay for TMAG5170 debug testing only. */

/* Remove the SPI3-based TMAG5170 node defined in nrf5340dk_nrf5340_cpuapp_ns.overlay
 * to avoid duplicate 'tmag5170' label when both overlays are applied together. */
&spi3 {
	/delete-node/ tmag5170@0;
};

&pinctrl {
	spi0_default: spi0_default {
		group1 {
			psels = <NRF_PSEL(SPIM_SCK,  0, 8)>,
				<NRF_PSEL(SPIM_MOSI, 0, 10)>;
		};
		group2 {
			psels = <NRF_PSEL(SPIM_MISO, 0, 9)>;
			bias-pull-up;
		};
	};

	spi0_sleep: spi0_sleep {
		group1 {
			psels = <NRF_PSEL(SPIM_SCK,  0, 8)>,
				<NRF_PSEL(SPIM_MOSI, 0, 10)>,
				<NRF_PSEL(SPIM_MISO, 0, 9)>;
			low-power-enable;
		};
	};
};

&spi0 {
	compatible = "nordic,nrf-spim";
	status = "okay";
	pinctrl-0 = <&spi0_default>;
	pinctrl-1 = <&spi0_sleep>;
	pinctrl-names = "default", "sleep";
	cs-gpios = <&gpio1 15 GPIO_ACTIVE_LOW>;

	tmag5170: tmag5170@0 {
		compatible = "ti,tmag5170";
		reg = <0>;
		spi-max-frequency = <8000000>;
		operating-mode = <2>;
		magnetic-channels = "XY";
		angle-measurement = "XY";
	};
};
```

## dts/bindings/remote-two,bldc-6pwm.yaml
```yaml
description: |
  6-PWM BLDC motor driver pin assignment node.
  Defines the six PWM channels used to drive a BLDC motor with complementary
  high-side / low-side switching. Channel order in the pwms property is fixed:
    index 0 - Phase A high
    index 1 - Phase A low
    index 2 - Phase B high
    index 3 - Phase B low
    index 4 - Phase C high
    index 5 - Phase C low

compatible: "remote-two,bldc-6pwm"

properties:
  pwms:
    type: phandle-array
    required: true
    description: |
      Six PWM specifiers in order AH, AL, BH, BL, CH, CL.
      Each entry: <&pwm_controller channel period_ns flags>.
```

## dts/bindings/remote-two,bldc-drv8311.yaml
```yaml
description: |
  3-PWM BLDC motor driver node for DRV8311H.
  INA/INB/INC are driven by three PWM channels.
  INL (low-side enable), nSLEEP, and nFAULT are plain GPIOs.

compatible: "remote-two,bldc-drv8311"

properties:
  pwms:
    type: phandle-array
    required: true
    description: |
      Three PWM specifiers in order INA, INB, INC.
      Each entry: <&pwm_controller channel period_ns flags>.

  inl-gpios:
    type: phandle-array
    required: true
    description: INL (low-side enable) GPIO, active high.

  sleep-gpios:
    type: phandle-array
    required: true
    description: nSLEEP GPIO, active high = awake.

  fault-gpios:
    type: phandle-array
    required: true
    description: nFAULT GPIO, active low = fault asserted.
```

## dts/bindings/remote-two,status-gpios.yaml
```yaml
description: Group node for status/interrupt GPIO inputs (charger, accelerometer, etc.)

compatible: "remote-two,status-gpios"

child-binding:
  description: Individual status or interrupt GPIO input
  properties:
    gpios:
      type: phandle-array
      required: true
    label:
      type: string
```

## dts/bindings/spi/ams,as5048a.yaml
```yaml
description: AMS AS5048A 14-bit magnetic rotary position sensor (SPI)

compatible: "ams,as5048a"

include: spi-device.yaml

properties:
  int-gpios:
    type: phandle-array
    description: Interrupt/alert output GPIO, active low.
```

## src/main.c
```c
#include <zephyr/kernel.h>
#include <zephyr/device.h>
#include <zephyr/devicetree.h>
#include <zephyr/drivers/uart.h>
#include <zephyr/logging/log.h>
#include "haptic.h"
#include "remote_control.h"
#include "drivers/tmag5170_sensor.h"
#include "ui_display.h"
#include "BLE_commands.h"

LOG_MODULE_REGISTER(main, LOG_LEVEL_DBG);

/* Device instances */
static struct tmag5170_device encoder;
static bldc_driver_3pwm_t driver;
static bldc_motor_t motor;

static void wait_for_usb_console_ready(void)
{
#if DT_HAS_CHOSEN(zephyr_console)
	const struct device *const console_dev = DEVICE_DT_GET(DT_CHOSEN(zephyr_console));

	if (!device_is_ready(console_dev)) {
		return;
	}

	if (IS_ENABLED(CONFIG_UART_LINE_CTRL)) {
		uint32_t dtr = 0;

		/* Wait max 3 s for terminal DTR – do not block indefinitely so that
		 * mcumgr SMP commands can reach the app even without a terminal. */
		for (int i = 0; i < 120; i++) {
			if ((uart_line_ctrl_get(console_dev, UART_LINE_CTRL_DTR, &dtr) == 0) && dtr) {
				break;
			}
			k_msleep(25);
		}
	}
#endif
}

int main(void)
{
	wait_for_usb_console_ready();
	LOG_INF("System started, OTA update ready");

	/* Sequence copied verbatim from the proven `main` branch, which ran the
	 * SPI display + TMAG encoder + DRV8311 motor + BLE all together on the
	 * nRF5340 DK:
	 *
	 *   1) Start the BLE radio FIRST.
	 *   2) Wait 300 ms so the RF front-end start-up current surge settles.
	 *      Without this the surge drops PVDD below the DRV8311H UVLO threshold
	 *      (latching a permanent fault) and disturbs the MIC2288 OLED boost,
	 *      leaving the display white and the TMAG5170 reading 0 mT.
	 *   3) Only THEN bring up the display + motor driver + encoder.
	 *
	 * No DC/DC Kconfig tricks — just the settle delay, exactly like main. */
	ble_commands_init();
	k_msleep(300);

	/* Supply now stable: bring up display and haptic. */
	if (ui_display_init() == 0) {
		(void)ui_display_show_hello_remote();
	}

	haptic_init(&motor, (bldc_driver_t *)&driver, (sensor_t *)&encoder);

	/* Finish UI/menu init (BLE already up). */
	remote_control_init();

	while (1) {
		remote_control_tick();
		ui_display_process();
		k_msleep(15);
	}
}
```

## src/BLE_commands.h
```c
#ifndef BLE_COMMANDS_H
#define BLE_COMMANDS_H

#include <stdbool.h>
#include <stdint.h>

struct ble_printer_state {
	bool valid;
	bool can_move;
	bool printing;

	bool homed_x;
	bool homed_y;
	bool homed_z;

	int tool;

	float pos_x;
	float pos_y;
	float pos_z;
	float pos_e;

	float temp_e;        /* extruder temperature [°C] */
	float temp_b;        /* bed temperature [°C] */
	float temp_e_target; /* extruder target temperature [°C] */
	float temp_b_target; /* bed target temperature [°C] */

	float fan_pct;       /* part cooling fan 0-100 % */
	float feed_rate_pct; /* feed rate override 0-999 % */
	float progress_pct;  /* print progress 0-100 % */
	uint32_t print_secs; /* elapsed print time [s] */
	char status_msg[20]; /* short printer status string, e.g. "Ready" */
};

struct ble_last_ack {
	bool valid;
	uint16_t id;
	bool ok;
	char reason[20];
};

int ble_commands_init(void);
void ble_send_gcode(const char *cmd);
bool ble_printer_state_get(struct ble_printer_state *out_state);
bool ble_printer_can_move(void);
bool ble_last_ack_get(struct ble_last_ack *out_ack);

#endif /* BLE_COMMANDS_H */
```

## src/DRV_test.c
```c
/*
 * DRV8311H 3PWM open-loop driver verification
 *
 * Exercises the DRV8311H gate driver via bldc_driver_3pwm HAL in voltage-mode
 * open loop — no encoder, no current sensing.  Follows the SimpleFOC
 * velocityOpenloop + setPhaseVoltage(Uq, Ud=0, angle_el) pattern with
 * SINE_PWM and centred modulation.
 *
 * INL logic level (DRV8311H datasheet, Table 1 – 3PWM mode):
 *   INL = HIGH → low-side gates enabled, complementary PWM (normal operation)
 *   INL = LOW  → all low-side gates forced off, motor coasts (Hi-Z)
 * bldc_driver_3pwm_init_hw() asserts INL HIGH as the first GPIO action.
 *
 * Slew rate: 75 V/µs is set by hardware (IDRIVEN/IDRIVEP resistors).
 * No firmware register writes required.
 */

#include <zephyr/kernel.h>
#include <zephyr/logging/log.h>
#include <math.h>

#include "drivers/bldc_driver_3pwm.h"

/* M_PI is a GNU extension and is not exposed by picolibc in strict C99 mode. */
#define DRV_PI  3.14159265358979323846f
#define DRV_2PI (2.0f * DRV_PI)

LOG_MODULE_REGISTER(drv_test, LOG_LEVEL_INF);

/* ── Motor / test parameters ─────────────────────────────────────────────── */
#define POLE_PAIRS          7       /* adjust to actual motor                  */
#define VOLTAGE_SUPPLY      3.75f   /* V, actual VM on PCB (measure with DMM!) */
#define OPEN_LOOP_VOLTAGE   1.5f    /* V, Uq ≤ Vdc/2 = 1.875 V                */
#define TARGET_VEL_MECH    25.0f    /* rad/s mechanical shaft velocity target  */

/* 2 kHz control loop driven by k_busy_wait. */
#define LOOP_PERIOD_US     500U
#define DT                 (LOOP_PERIOD_US * 1.0e-6f)   /* fixed timestep, s   */
#define LOG_EVERY_N        2000U                         /* ≈ 1 log line/second */

/* ── Helpers ─────────────────────────────────────────────────────────────── */

/** Wrap any angle into [0, 2π]. */
static inline float norm_angle(float a)
{
    float r = fmodf(a, DRV_2PI);
    return (r < 0.0f) ? r + DRV_2PI : r;
}

/**
 * Sinusoidal phase voltages centred at Vdc/2.
 *
 * Mirrors SimpleFOC setPhaseVoltage(Uq, Ud=0, angle_el)
 * with SINE_PWM and modulation_centered = true:
 *
 *   Inverse Park (Ud = 0):
 *     Uα = -Uq · sin(θ)
 *     Uβ =  Uq · cos(θ)
 *
 *   Inverse Clarke:
 *     Ua =  Uα
 *     Ub = -Uα/2 + (√3/2)·Uβ
 *     Uc = -Uα/2 - (√3/2)·Uβ    (= -(Ua+Ub), since Ia+Ib+Ic = 0)
 *
 *   Centre shift (add Vdc/2):
 *     Ua += Vdc/2,  Ub += Vdc/2,  Uc += Vdc/2
 *
 * Resulting voltage swing: [Vdc/2 - Uq, Vdc/2 + Uq] ⊂ [0, Vdc]. ✓
 */
static void set_phase_voltage(bldc_driver_3pwm_t *drv, float uq, float angle_el)
{
    const float mid  = drv->voltage_power_supply * 0.5f;
    const float u_al = -uq * sinf(angle_el);          /* Uα (inverse Park)    */
    const float u_be =  uq * cosf(angle_el);          /* Uβ (inverse Park)    */

    const float ua = mid + u_al;
    const float ub = mid + (-u_al * 0.5f + 0.8660254f * u_be);
    const float uc = mid + (-u_al * 0.5f - 0.8660254f * u_be);

    bldc_driver_3pwm_set_pwm(drv, ua, ub, uc);
}

/* ── Entry point ─────────────────────────────────────────────────────────── */

int main(void)
{
    static bldc_driver_3pwm_t drv;

    LOG_INF("=== DRV8311H OPEN-LOOP TEST ===");
    LOG_INF("This is build_drv, not the UI/BLE/encoder firmware");
    LOG_INF("Target: %.1f rad/s mech, Uq = %.1f V, %d pole pairs",
            (double)TARGET_VEL_MECH, (double)OPEN_LOOP_VOLTAGE, POLE_PAIRS);

    bldc_driver_3pwm_init_struct(&drv);
    drv.voltage_power_supply = VOLTAGE_SUPPLY;
    drv.voltage_limit        = VOLTAGE_SUPPLY;
    drv.pwm_frequency        = 25000;

    if (bldc_driver_3pwm_init_hw(&drv) != DRIVER_INIT_OK) {
        LOG_ERR("bldc_driver_3pwm_init_hw failed — check overlay / GPIOs");
        return -1;
    }

    bldc_driver_3pwm_enable(&drv);
    LOG_INF("Driver ready: nSLEEP=HIGH, INL=HIGH");

    /* Give the rotor a starting preference before entering open-loop spin. */
    LOG_INF("Aligning rotor...");
    for (uint32_t i = 0; i < 1000U; ++i) {
        set_phase_voltage(&drv, OPEN_LOOP_VOLTAGE, 0.0f);
        k_busy_wait(1000U);
    }
    LOG_INF("Alignment complete, starting spin");

    const float vel_elec = TARGET_VEL_MECH * (float)POLE_PAIRS;  /* elec. rad/s */
    float shaft_angle    = 0.0f;
    uint32_t iter        = 0;

    while (1) {
        /* Open-loop angle integration (fixed timestep). */
        shaft_angle = norm_angle(shaft_angle + TARGET_VEL_MECH * DT);

        /* Electrical angle = mechanical angle × pole pairs. */
        const float angle_el = norm_angle(shaft_angle * (float)POLE_PAIRS);

        /* Apply sinusoidal phase voltages. */
        set_phase_voltage(&drv, OPEN_LOOP_VOLTAGE, angle_el);

        /* Periodic log — approximately once per second. */
        if (++iter >= LOG_EVERY_N) {
            iter = 0;
            LOG_INF("shaft=%.3f rad  elec=%.3f rad  ω_el=%.1f rad/s"
                    "  dc=[%.3f %.3f %.3f]",
                    (double)shaft_angle,
                    (double)angle_el,
                    (double)vel_elec,
                    (double)drv.dc_a,
                    (double)drv.dc_b,
                    (double)drv.dc_c);
        }

        k_busy_wait(LOOP_PERIOD_US);
    }

    return 0;
}
```

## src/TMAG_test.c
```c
#include <zephyr/device.h>
#include <zephyr/devicetree.h>
#include <zephyr/drivers/sensor.h>
#include <zephyr/drivers/spi.h>
#include <zephyr/kernel.h>
#include <zephyr/logging/log.h>
#include <string.h>

LOG_MODULE_REGISTER(tmag_test, LOG_LEVEL_INF);

#define TMAG_NODE DT_NODELABEL(tmag5170)

#if !DT_NODE_HAS_STATUS(TMAG_NODE, okay)
#error "TMAG5170 node is not okay in devicetree"
#endif

/* Raw SPI access for register diagnostics.
 * TMAG5170 uses pipelined SPI: RX during transaction N = response to transaction N-1.
 * Reading a register TWICE gives the actual current value on the 2nd read.
 */
static const struct spi_dt_spec tmag_spi = SPI_DT_SPEC_GET(
    TMAG_NODE,
    SPI_OP_MODE_MASTER | SPI_TRANSFER_MSB | SPI_WORD_SET(8),
    0);

static uint16_t tmag_read_reg_raw(uint8_t reg)
{
    uint8_t tx[4] = { BIT(7) | reg, 0x00, 0x00, 0x00 };
    uint8_t rx[4] = { 0 };
    struct spi_buf tx_buf = { .buf = tx, .len = 4 };
    struct spi_buf rx_buf = { .buf = rx, .len = 4 };
    struct spi_buf_set tx_set = { .buffers = &tx_buf, .count = 1 };
    struct spi_buf_set rx_set = { .buffers = &rx_buf, .count = 1 };

    /* 1st read: flushes pipeline (gets previous command's response) */
    spi_transceive_dt(&tmag_spi, &tx_set, &rx_set);
    memset(rx, 0, sizeof(rx));
    /* 2nd read: gets actual current register value */
    spi_transceive_dt(&tmag_spi, &tx_set, &rx_set);
    return (uint16_t)((rx[1] << 8) | rx[2]);
}

int main(void)
{
    const struct device *const tmag = DEVICE_DT_GET(TMAG_NODE);
    const struct device *const spi_bus = DEVICE_DT_GET(DT_BUS(TMAG_NODE));

    LOG_INF("TMAG5170 test start");
    LOG_INF("TMAG node status: %s", device_is_ready(tmag) ? "ready" : "not ready");
    LOG_INF("SPI bus for TMAG: %s (%s)", spi_bus->name,
            device_is_ready(spi_bus) ? "ready" : "not ready");

    /* --- one-time register dump right after init ---
     * Expected: DEVICE_CONFIG=0x0020 (AMM), SENSOR_CONFIG=0x40C0 (XY+angle)
     */
    uint16_t dev_cfg   = tmag_read_reg_raw(0x00);  /* DEVICE_CONFIG  */
    uint16_t sens_cfg  = tmag_read_reg_raw(0x01);  /* SENSOR_CONFIG  */
    uint16_t test_cfg  = tmag_read_reg_raw(0x0F);  /* TEST_CONFIG    */
    LOG_INF("POST-INIT regs: DEVICE_CONFIG=0x%04x (exp 0x0020)  "
            "SENSOR_CONFIG=0x%04x (exp 0x40C0)  TEST_CONFIG=0x%04x",
            dev_cfg, sens_cfg, test_cfg);

    while (1) {
        struct sensor_value angle;

        if (!device_is_ready(tmag)) {
            LOG_ERR("TMAG5170 device not ready");
            k_sleep(K_SECONDS(1));
            continue;
        }

        /* TMAG5170 SPI is pipelined: response to command N arrives during command N+1.
         * Fetch each channel TWICE — first call flushes the pipeline, second gets
         * the actual current register value. Using SENSOR_CHAN_ALL would shift all
         * channels by one (angle stored in drv_data->x, x in drv_data->y, etc.).
         */
        sensor_sample_fetch_chan(tmag, SENSOR_CHAN_ROTATION);   /* pipeline flush */
        int ret = sensor_sample_fetch_chan(tmag, SENSOR_CHAN_ROTATION);
        if (ret < 0) {
            LOG_ERR("sample_fetch ROTATION failed: %d", ret);
            k_sleep(K_SECONDS(1));
            continue;
        }

        sensor_channel_get(tmag, SENSOR_CHAN_ROTATION, &angle);

        LOG_INF("angle=%d.%04d deg", angle.val1, angle.val2 / 100);

        k_sleep(K_SECONDS(1));
    }

    return 0;
}
```

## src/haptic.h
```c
#ifndef HAPTIC_H
#define HAPTIC_H

#include <stdint.h>
#include <stdbool.h>
#include "drivers/bldc_motor.h"
#include "drivers/bldc_driver_3pwm.h"

int haptic_init(bldc_motor_t *motor, bldc_driver_t *driver, sensor_t *encoder);
void haptic_loop(bldc_motor_t *motor);
/* Stop the FOC loop, park the motor, and put the driver (nSLEEP) and the
 * TMAG5170 encoder (deep-sleep) into low-power mode. Used by power-off. */
void haptic_shutdown(void);
int haptic_update_num_steps_from_button(void);
int haptic_get_num_steps(void);
void haptic_set_num_steps(int steps);
void haptic_set_step_callback(void (*cb)(int dir));
void haptic_set_virtual_click_callback(void (*cb)(int dir));

#endif /* HAPTIC_H */
```

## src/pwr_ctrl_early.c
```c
/*
 * pwr_ctrl_early.c
 *
 * Enable the display logic power rail (TPS62740 LOAD / pwr_ctrl, P0.30)
 * before the SSD1309 driver initialises (POST_KERNEL, priority 85).
 *
 * Without this the SSD1309 Zephyr driver runs its SPI init sequence while
 * the display logic supply is still off, leaving the display uninitialised.
 */

#include <zephyr/init.h>
#include <zephyr/drivers/gpio.h>
#include <zephyr/devicetree.h>
#include <zephyr/kernel.h>

static int pwr_ctrl_early_enable(void)
{
	static const struct gpio_dt_spec pwr =
		GPIO_DT_SPEC_GET(DT_NODELABEL(pwr_ctrl), gpios);

	if (!gpio_is_ready_dt(&pwr)) {
		return -ENODEV;
	}
	gpio_pin_configure_dt(&pwr, GPIO_OUTPUT_ACTIVE);
	/* Allow the logic supply to stabilise before SSD1309 init */
	k_msleep(5);
	return 0;
}

SYS_INIT(pwr_ctrl_early_enable, POST_KERNEL, 70);
```
